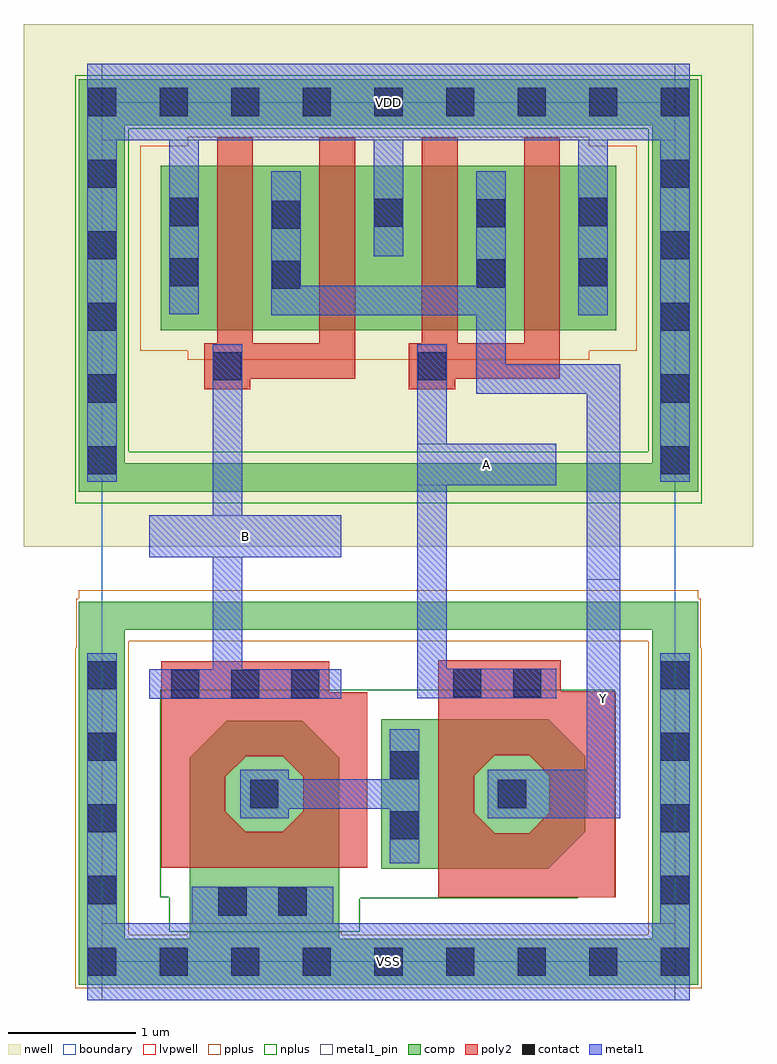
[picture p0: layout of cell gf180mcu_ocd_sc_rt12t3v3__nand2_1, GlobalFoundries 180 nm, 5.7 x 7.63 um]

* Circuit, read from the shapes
.subckt gf180mcu_ocd_sc_rt12t3v3__nand2_1 A B VDD VSS Y
XM1 n1 B VSS VSS nfet_03v3 w=1.785u l=0.5321u
XM2 Y A n1 VSS nfet_03v3 w=1.785u l=0.5301u
XM3 Y B VDD VDD pfet_03v3 w=1.285u l=0.28u m=2
XM4 Y A VDD VDD pfet_03v3 w=1.285u l=0.28u m=2
.ends

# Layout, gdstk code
import gdstk
lib = gdstk.Library(unit=1e-6, precision=1e-09)
def R(c, l, rs):  # rectangles x0, y0, x1, y1
    for r in rs: c.add(gdstk.rectangle(r[:2], r[2:], *l))
def A(c, l, x, y, w, h, nx, ny, dx, dy):  # array of equal rectangles
    R(c, l, [(x+i*dx, y+j*dy, x+i*dx+w, y+j*dy+h) for i in range(nx) for j in range(ny)])
def P(c, l, *ps):  # polygons
    for p in ps: c.add(gdstk.Polygon(p, *l))
boundary = (0, 0)
nwell = (21, 0)
comp = (22, 0)
poly2 = (30, 0)
pplus = (31, 0)
nplus = (32, 0)
contact = (33, 0)
metal1 = (34, 0)
metal1_pin = (34, 10)
lvpwell = (204, 0)

gf180mcu_ocd_sc_rt12t3v3 = lib.new_cell('gf180mcu_ocd_sc_rt12t3v3__nand2_1')
R(gf180mcu_ocd_sc_rt12t3v3, boundary, [(0,0,4.48,6.72)])
R(gf180mcu_ocd_sc_rt12t3v3, nwell, [(-0.61,3.245,5.09,7.33)])
R(gf180mcu_ocd_sc_rt12t3v3, comp, [(-0.18,-0.18,4.66,0.18), (-0.18,0.18,0.18,2.595), (0.685,0.18,1.855,1.595), (4.3,0.18,4.66,2.595), (2.185,0.725,3.49,1.015), (2.185,1.015,3.78,1.605), (0.975,1.595,1.565,1.885), (2.185,1.605,3.49,1.895), (-0.18,2.595,4.66,2.815), (-0.18,3.675,4.66,3.895), (-0.18,3.895,0.18,6.54), (4.3,3.895,4.66,6.54), (0.46,4.935,4.02,6.22), (-0.18,6.54,4.66,6.9)])
P(gf180mcu_ocd_sc_rt12t3v3, comp, [(0.685,1.595),(0.975,1.595),(0.975,1.885)],
  [(1.565,1.885),(1.565,1.595),(1.855,1.595)],
  [(3.49,1.895),(3.49,1.605),(3.78,1.605)],
  [(3.49,0.725),(3.49,1.015),(3.78,1.015)])
A(gf180mcu_ocd_sc_rt12t3v3, poly2, 0.9, 4.835, 0.28, 1.605, 4, 1, 0.8, 0)
R(gf180mcu_ocd_sc_rt12t3v3, poly2, [(2.63,0.505,4.015,1.005), (0.465,0.735,2.075,1.015), (2.63,1.005,2.91,1.615), (3.49,1.005,4.015,1.155), (0.465,1.015,0.965,1.595), (1.575,1.015,2.075,1.595), (3.5,1.155,4.015,1.465), (3.49,1.465,4.015,1.615), (0.465,1.595,1.115,1.605), (1.425,1.595,2.075,1.605), (0.465,1.605,2.075,2.105), (2.63,1.615,4.015,2.115), (0.465,2.105,1.775,2.35), (2.63,2.115,3.585,2.355), (0.8,4.475,1.16,4.555), (2.4,4.475,2.76,4.555), (0.8,4.555,1.98,4.835), (2.4,4.555,3.58,4.835)])
P(gf180mcu_ocd_sc_rt12t3v3, poly2, [(1.115,1.595),(1.115,1.605),(1.125,1.605)],
  [(1.415,1.605),(1.425,1.605),(1.425,1.595)],
  [(0.965,1.445),(0.965,1.595),(1.115,1.595)],
  [(1.425,1.595),(1.575,1.595),(1.575,1.445)],
  [(0.965,1.175),(0.965,1.015),(1.125,1.015)],
  [(1.415,1.015),(1.575,1.015),(1.575,1.175)],
  [(2.91,1.455),(2.91,1.615),(3.07,1.615)],
  [(3.34,1.615),(3.49,1.615),(3.49,1.465)],
  [(3.49,1.465),(3.5,1.465),(3.5,1.455)],
  [(2.91,1.165),(2.91,1.005),(3.07,1.005)],
  [(3.49,1.155),(3.5,1.155),(3.5,1.165)],
  [(3.34,1.005),(3.49,1.005),(3.49,1.155)])
R(gf180mcu_ocd_sc_rt12t3v3, pplus, [(-0.21,-0.21,4.69,0.21), (-0.21,0.21,0.21,2.45), (0.665,0.21,1.875,0.235), (4.27,0.21,4.69,2.45), (-0.2,2.45,0.21,2.505), (4.27,2.45,4.68,2.505), (-0.2,2.505,4.68,2.835), (-0.18,2.835,4.66,2.905), (0.67,4.705,3.81,4.775), (0.3,4.775,4.18,6.38), (0.67,6.38,3.81,6.45)])
R(gf180mcu_ocd_sc_rt12t3v3, nplus, [(0.525,0.235,2.015,0.495), (0.525,0.495,3.72,0.505), (0.455,0.505,4.01,2.125), (-0.21,3.585,4.69,3.985), (-0.21,3.985,0.21,6.51), (4.27,3.985,4.69,6.51), (-0.21,6.51,4.69,6.93)])
P(gf180mcu_ocd_sc_rt12t3v3, nplus, [(3.72,0.495),(3.72,0.505),(3.73,0.505)])
A(gf180mcu_ocd_sc_rt12t3v3, contact, -0.11, -0.11, 0.22, 0.22, 9, 2, 0.56, 6.72)
A(gf180mcu_ocd_sc_rt12t3v3, contact, -0.11, 0.45, 0.22, 0.22, 1, 4, 0, 0.56)
A(gf180mcu_ocd_sc_rt12t3v3, contact, 4.37, 0.45, 0.22, 0.22, 1, 4, 0, 0.56)
A(gf180mcu_ocd_sc_rt12t3v3, contact, 0.54, 2.06, 0.22, 0.22, 3, 1, 0.47, 0)
A(gf180mcu_ocd_sc_rt12t3v3, contact, -0.11, 3.81, 0.22, 0.22, 1, 5, 0, 0.56)
A(gf180mcu_ocd_sc_rt12t3v3, contact, 4.37, 3.81, 0.22, 0.22, 1, 5, 0, 0.56)
R(gf180mcu_ocd_sc_rt12t3v3, contact, [(0.91,0.36,1.13,0.58), (1.38,0.36,1.6,0.58), (2.255,0.955,2.475,1.175), (1.16,1.2,1.38,1.42), (3.095,1.2,3.315,1.42), (2.255,1.425,2.475,1.645), (2.745,2.065,2.965,2.285), (3.215,2.065,3.435,2.285), (0.87,4.545,1.09,4.765), (2.47,4.545,2.69,4.765), (1.33,5.26,1.55,5.48), (2.93,5.27,3.15,5.49), (0.53,5.28,0.75,5.5), (3.73,5.28,3.95,5.5), (1.33,5.73,1.55,5.95), (2.93,5.74,3.15,5.96), (2.13,5.745,2.35,5.965), (0.53,5.75,0.75,5.97), (3.73,5.75,3.95,5.97)])
R(gf180mcu_ocd_sc_rt12t3v3, metal1, [(-0.115,-0.3,4.595,0.3), (-0.115,0.3,0.115,2.41), (0.7,0.3,1.81,0.585), (4.365,0.3,4.595,2.41), (2.25,0.77,2.48,1.195), (1.08,1.12,1.46,1.195), (3.015,1.12,4.05,1.5), (1.08,1.195,2.48,1.425), (1.08,1.425,1.46,1.5), (2.25,1.425,2.48,1.815), (3.79,1.5,4.05,4.44), (0.37,2.055,1.87,2.285), (2.465,2.06,3.55,2.29), (0.865,2.285,1.095,3.16), (2.465,2.29,2.695,3.725), (0.37,3.16,1.87,3.49), (0.865,3.49,1.095,4.825), (2.465,3.725,3.55,4.05), (-0.115,3.75,0.115,6.42), (4.365,3.75,4.595,6.42), (2.465,4.05,2.695,4.825), (2.925,4.44,4.05,4.67), (2.925,4.67,3.155,5.055), (1.325,5.055,3.155,5.285), (3.725,5.055,3.955,6.42), (0.525,5.06,0.755,6.42), (1.325,5.285,1.555,6.18), (2.925,5.285,3.155,6.18), (2.125,5.515,2.355,6.42), (-0.115,6.42,4.595,7.02)])
R(gf180mcu_ocd_sc_rt12t3v3, metal1_pin, [(0,-0.3,4.48,0.3), (3.79,1.12,4.05,2.99), (0.37,3.16,1.87,3.49), (2.465,3.725,3.55,4.05), (0,6.42,4.48,7.02)])
R(gf180mcu_ocd_sc_rt12t3v3, lvpwell, [(0,-0.3,4.48,-0.18), (-0.18,-0.18,4.66,2.815)])
gf180mcu_ocd_sc_rt12t3v3.add(gdstk.Label('A', (3.007,3.887), layer=34, texttype=10))
gf180mcu_ocd_sc_rt12t3v3.add(gdstk.Label('B', (1.12,3.325), layer=34, texttype=10))
gf180mcu_ocd_sc_rt12t3v3.add(gdstk.Label('Y', (3.92,2.055), layer=34, texttype=10))
gf180mcu_ocd_sc_rt12t3v3.add(gdstk.Label('VDD', (2.24,6.72), layer=34, texttype=10))
gf180mcu_ocd_sc_rt12t3v3.add(gdstk.Label('VSS', (2.24,0), layer=34, texttype=10))

lib.write_gds('gf180mcu_ocd_sc_rt12t3v3__nand2_1.gds')
